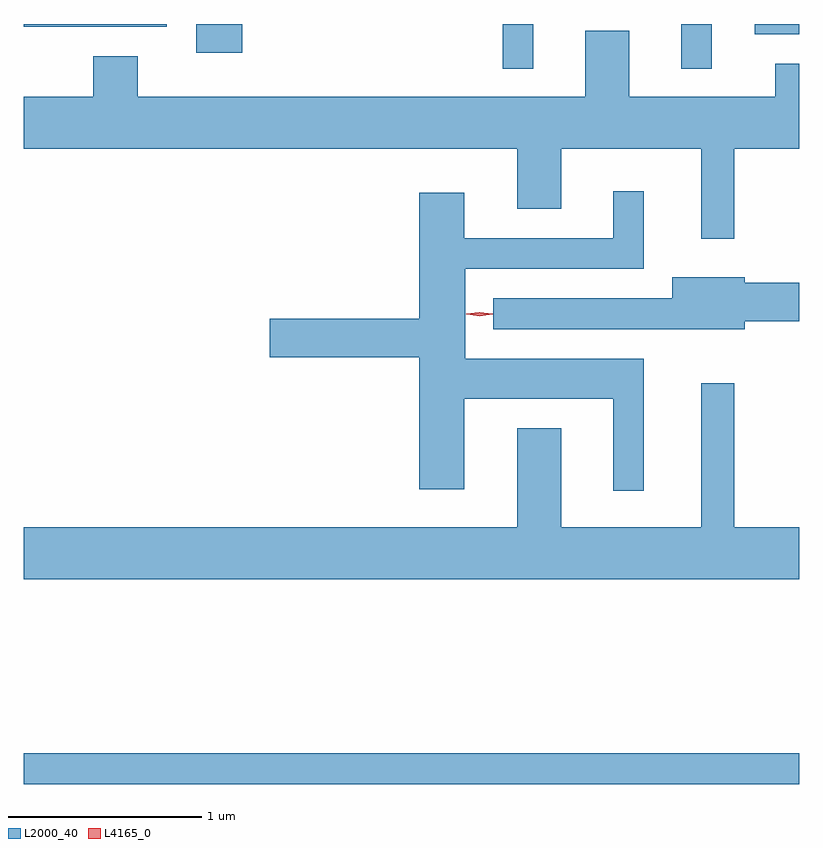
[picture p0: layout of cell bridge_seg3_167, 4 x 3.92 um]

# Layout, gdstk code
import gdstk
lib = gdstk.Library(unit=1e-6, precision=1e-09)
def R(c, l, rs):  # rectangles x0, y0, x1, y1
    for r in rs: c.add(gdstk.rectangle(r[:2], r[2:], *l))
def P(c, l, *ps):  # polygons
    for p in ps: c.add(gdstk.Polygon(p, *l))
L2000_40 = (2000, 40)
L4165_0 = (4165, 0)

bridge_seg3_167 = lib.new_cell('bridge_seg3_167')
R(bridge_seg3_167, L2000_40, [(898.496,1229.301,902.496,1229.459), (900.966,1232.988,901.124,1233.219), (901.886,1232.988,902.044,1233.219), (899.386,1233.071,899.624,1233.219), (902.266,1233.166,902.496,1233.219), (898.496,1233.206,899.234,1233.219)])
P(bridge_seg3_167, L2000_40, [(902.159,1232.576),(902.496,1232.576),(902.496,1233.014),(902.371,1233.014),(902.371,1232.844),(901.619,1232.844),(901.619,1233.184),(901.391,1233.184),(901.391,1232.844),(899.084,1232.844),(899.084,1233.054),(898.856,1233.054),(898.856,1232.844),(898.496,1232.844),(898.496,1232.576),(901.041,1232.576),(901.041,1232.266),(901.269,1232.266),(901.269,1232.576),(901.991,1232.576),(901.991,1232.113),(902.159,1232.113)],
  [(901.694,1231.494),(900.774,1231.494),(900.774,1231.956),(901.694,1231.956),(901.694,1232.358),(901.536,1232.358),(901.536,1232.114),(900.769,1232.114),(900.769,1232.349),(900.536,1232.349),(900.536,1231.699),(899.766,1231.699),(899.766,1231.501),(900.536,1231.501),(900.536,1230.821),(900.769,1230.821),(900.769,1231.286),(901.536,1231.286),(901.536,1230.813),(901.694,1230.813)],
  [(902.214,1231.686),(902.496,1231.686),(902.496,1231.884),(902.214,1231.884),(902.214,1231.914),(901.841,1231.914),(901.841,1231.804),(900.918,1231.804),(900.918,1231.646),(902.214,1231.646)],
  [(902.496,1230.624),(902.159,1230.624),(902.159,1231.368),(901.991,1231.368),(901.991,1230.624),(901.269,1230.624),(901.269,1231.134),(901.041,1231.134),(901.041,1230.624),(898.496,1230.624),(898.496,1230.356),(902.496,1230.356)])
P(bridge_seg3_167, L4165_0, [(900.847,1231.714),(900.778,1231.723),(900.777,1231.723),(900.778,1231.724),(900.846,1231.734),(900.916,1231.724),(900.916,1231.724),(900.916,1231.723)],
  [(900.847,1231.713),(900.782,1231.723),(900.782,1231.723),(900.782,1231.724),(900.847,1231.733),(900.912,1231.724),(900.913,1231.723),(900.912,1231.723)])

lib.write_gds('bridge_seg3_167.gds')
